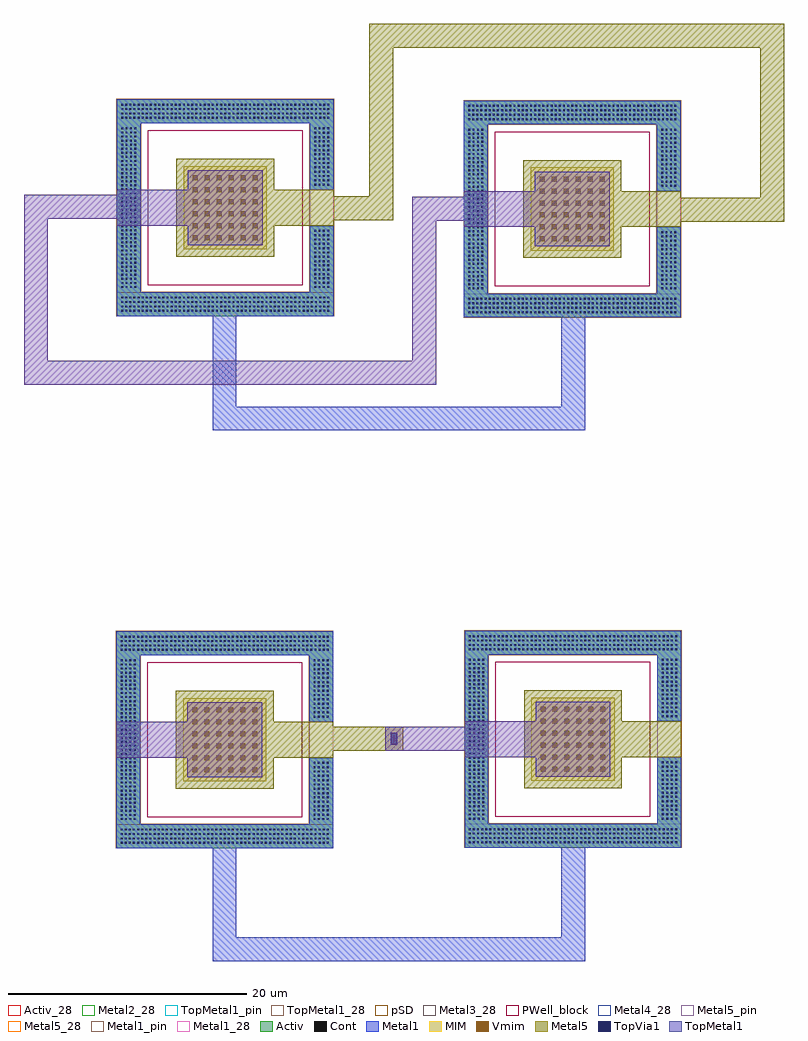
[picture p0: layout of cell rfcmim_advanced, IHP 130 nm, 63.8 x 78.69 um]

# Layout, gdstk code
import gdstk
lib = gdstk.Library(unit=1e-6, precision=1e-09)
def R(c, l, rs):  # rectangles x0, y0, x1, y1
    for r in rs: c.add(gdstk.rectangle(r[:2], r[2:], *l))
def A(c, l, x, y, w, h, nx, ny, dx, dy):  # array of equal rectangles
    R(c, l, [(x+i*dx, y+j*dy, x+i*dx+w, y+j*dy+h) for i in range(nx) for j in range(ny)])
def P(c, l, *ps):  # polygons
    for p in ps: c.add(gdstk.Polygon(p, *l))
Activ = (1, 0)
Activ_28 = (1, 28)
Cont = (6, 0)
Metal1 = (8, 0)
Metal1_pin = (8, 2)
Metal1_28 = (8, 28)
Metal2_28 = (10, 28)
pSD = (14, 0)
Metal3_28 = (30, 28)
MIM = (36, 0)
PWell_block = (46, 21)
Metal4_28 = (50, 28)
Metal5 = (67, 0)
Metal5_pin = (67, 2)
Metal5_28 = (67, 28)
TopVia1 = (125, 0)
TopMetal1 = (126, 0)
TopMetal1_pin = (126, 2)
TopMetal1_28 = (126, 28)
Vmim = (129, 0)

rfcmim = lib.new_cell('rfcmim')
P(rfcmim, Activ, [(-5.6,-5.6),(-5.6,12.6),(12.6,12.6),(12.6,5),(10.6,5),(10.6,10.6),(-3.6,10.6),(-3.6,-3.6),(10.6,-3.6),(10.6,2),(12.6,2),(12.6,-5.6)])
R(rfcmim, Activ_28, [(-5.6,-5.6,12.6,12.6)])
A(rfcmim, Cont, -5.24, -5.24, 0.16, 0.16, 4, 2, 0.345, 0.37)
A(rfcmim, Cont, -3.855, -5.24, 0.16, 0.16, 4, 2, 0.345, 0.37)
A(rfcmim, Cont, -2.47, -5.24, 0.16, 0.16, 3, 2, 0.345, 0.37)
A(rfcmim, Cont, -1.43, -5.24, 0.16, 0.16, 4, 2, 0.345, 0.37)
A(rfcmim, Cont, -0.045, -5.24, 0.16, 0.16, 3, 2, 0.345, 0.37)
A(rfcmim, Cont, 0.995, -5.24, 0.16, 0.16, 4, 2, 0.345, 0.37)
A(rfcmim, Cont, 2.38, -5.24, 0.16, 0.16, 3, 2, 0.345, 0.37)
A(rfcmim, Cont, 3.42, -5.24, 0.16, 0.16, 4, 2, 0.345, 0.37)
A(rfcmim, Cont, 4.805, -5.24, 0.16, 0.16, 4, 2, 0.345, 0.37)
A(rfcmim, Cont, 6.19, -5.24, 0.16, 0.16, 3, 2, 0.345, 0.37)
A(rfcmim, Cont, 7.23, -5.24, 0.16, 0.16, 4, 2, 0.345, 0.37)
A(rfcmim, Cont, 8.615, -5.24, 0.16, 0.16, 3, 2, 0.345, 0.37)
A(rfcmim, Cont, 9.655, -5.24, 0.16, 0.16, 4, 2, 0.345, 0.37)
A(rfcmim, Cont, 11.04, -5.24, 0.16, 0.16, 3, 2, 0.345, 0.37)
A(rfcmim, Cont, 12.08, -4.87, 0.16, 0.16, 1, 3, 0, 0.375)
A(rfcmim, Cont, -5.24, -4.495, 0.16, 0.16, 4, 2, 0.345, 0.375)
A(rfcmim, Cont, -3.855, -4.495, 0.16, 0.16, 4, 2, 0.345, 0.375)
A(rfcmim, Cont, -2.47, -4.495, 0.16, 0.16, 3, 2, 0.345, 0.375)
A(rfcmim, Cont, -1.43, -4.495, 0.16, 0.16, 4, 2, 0.345, 0.375)
A(rfcmim, Cont, -0.045, -4.495, 0.16, 0.16, 3, 2, 0.345, 0.375)
A(rfcmim, Cont, 0.995, -4.495, 0.16, 0.16, 4, 2, 0.345, 0.375)
A(rfcmim, Cont, 2.38, -4.495, 0.16, 0.16, 3, 2, 0.345, 0.375)
A(rfcmim, Cont, 3.42, -4.495, 0.16, 0.16, 4, 2, 0.345, 0.375)
A(rfcmim, Cont, 4.805, -4.495, 0.16, 0.16, 4, 2, 0.345, 0.375)
A(rfcmim, Cont, 6.19, -4.495, 0.16, 0.16, 3, 2, 0.345, 0.375)
A(rfcmim, Cont, 7.23, -4.495, 0.16, 0.16, 4, 2, 0.345, 0.375)
A(rfcmim, Cont, 8.615, -4.495, 0.16, 0.16, 3, 2, 0.345, 0.375)
A(rfcmim, Cont, 9.655, -4.495, 0.16, 0.16, 4, 2, 0.345, 0.375)
A(rfcmim, Cont, 11.04, -4.495, 0.16, 0.16, 3, 2, 0.345, 0.375)
A(rfcmim, Cont, -5.24, -3.24, 0.16, 0.16, 1, 4, 0, 0.34)
A(rfcmim, Cont, -4.87, -3.24, 0.16, 0.16, 3, 4, 0.375, 0.34)
A(rfcmim, Cont, 11.33, -3.24, 0.16, 0.16, 3, 2, 0.375, 0.36)
A(rfcmim, Cont, 11.33, -2.515, 0.16, 0.16, 3, 2, 0.375, 0.36)
A(rfcmim, Cont, 10.96, -2.155, 0.16, 0.16, 1, 3, 0, 0.365)
A(rfcmim, Cont, -5.24, -1.875, 0.16, 0.16, 1, 3, 0, 0.34)
A(rfcmim, Cont, -4.87, -1.875, 0.16, 0.16, 3, 3, 0.375, 0.34)
A(rfcmim, Cont, 11.33, -1.79, 0.16, 0.16, 3, 2, 0.375, 0.365)
A(rfcmim, Cont, 11.33, -1.065, 0.16, 0.16, 3, 2, 0.375, 0.365)
A(rfcmim, Cont, -5.24, -0.85, 0.16, 0.16, 1, 3, 0, 0.34)
A(rfcmim, Cont, -4.87, -0.85, 0.16, 0.16, 3, 3, 0.375, 0.34)
A(rfcmim, Cont, 10.96, -0.34, 0.16, 0.16, 1, 3, 0, 0.365)
A(rfcmim, Cont, 11.33, -0.34, 0.16, 0.16, 3, 3, 0.375, 0.365)
A(rfcmim, Cont, -5.24, 0.175, 0.16, 0.16, 1, 3, 0, 0.34)
A(rfcmim, Cont, -4.87, 0.175, 0.16, 0.16, 3, 3, 0.375, 0.34)
A(rfcmim, Cont, 10.96, 0.75, 0.16, 0.16, 1, 3, 0, 0.365)
A(rfcmim, Cont, 11.33, 0.75, 0.16, 0.16, 3, 3, 0.375, 0.365)
A(rfcmim, Cont, -5.24, 1.2, 0.16, 0.16, 1, 4, 0, 0.34)
A(rfcmim, Cont, -4.87, 1.2, 0.16, 0.16, 3, 4, 0.375, 0.34)
A(rfcmim, Cont, -5.24, 2.565, 0.16, 0.16, 1, 3, 0, 0.34)
A(rfcmim, Cont, -4.87, 2.565, 0.16, 0.16, 3, 3, 0.375, 0.34)
A(rfcmim, Cont, -5.24, 3.59, 0.16, 0.16, 1, 3, 0, 0.34)
A(rfcmim, Cont, -4.87, 3.59, 0.16, 0.16, 3, 3, 0.375, 0.34)
A(rfcmim, Cont, -5.24, 4.615, 0.16, 0.16, 1, 3, 0, 0.34)
A(rfcmim, Cont, -4.87, 4.615, 0.16, 0.16, 3, 3, 0.375, 0.34)
A(rfcmim, Cont, 11.33, 5.36, 0.16, 0.16, 3, 2, 0.375, 0.36)
A(rfcmim, Cont, -5.24, 5.64, 0.16, 0.16, 1, 4, 0, 0.34)
A(rfcmim, Cont, -4.87, 5.64, 0.16, 0.16, 3, 4, 0.375, 0.34)
A(rfcmim, Cont, 11.33, 6.085, 0.16, 0.16, 3, 2, 0.375, 0.36)
A(rfcmim, Cont, 10.96, 6.445, 0.16, 0.16, 1, 3, 0, 0.365)
A(rfcmim, Cont, 11.33, 6.81, 0.16, 0.16, 3, 2, 0.375, 0.365)
A(rfcmim, Cont, -5.24, 7.005, 0.16, 0.16, 1, 3, 0, 0.34)
A(rfcmim, Cont, -4.87, 7.005, 0.16, 0.16, 3, 3, 0.375, 0.34)
A(rfcmim, Cont, 11.33, 7.535, 0.16, 0.16, 3, 2, 0.375, 0.365)
A(rfcmim, Cont, -5.24, 8.03, 0.16, 0.16, 1, 3, 0, 0.34)
A(rfcmim, Cont, -4.87, 8.03, 0.16, 0.16, 3, 3, 0.375, 0.34)
A(rfcmim, Cont, 10.96, 8.26, 0.16, 0.16, 1, 3, 0, 0.365)
A(rfcmim, Cont, 11.33, 8.26, 0.16, 0.16, 3, 3, 0.375, 0.365)
A(rfcmim, Cont, -5.24, 9.055, 0.16, 0.16, 1, 3, 0, 0.34)
A(rfcmim, Cont, -4.87, 9.055, 0.16, 0.16, 3, 3, 0.375, 0.34)
A(rfcmim, Cont, 10.96, 9.35, 0.16, 0.16, 1, 3, 0, 0.365)
A(rfcmim, Cont, 11.33, 9.35, 0.16, 0.16, 3, 3, 0.375, 0.365)
A(rfcmim, Cont, -4.87, 10.08, 0.16, 0.16, 3, 1, 0.375, 0)
A(rfcmim, Cont, -5.24, 10.96, 0.16, 0.16, 4, 2, 0.345, 0.37)
A(rfcmim, Cont, -3.855, 10.96, 0.16, 0.16, 4, 2, 0.345, 0.37)
A(rfcmim, Cont, -2.47, 10.96, 0.16, 0.16, 3, 2, 0.345, 0.37)
A(rfcmim, Cont, -1.43, 10.96, 0.16, 0.16, 4, 2, 0.345, 0.37)
A(rfcmim, Cont, -0.045, 10.96, 0.16, 0.16, 3, 2, 0.345, 0.37)
A(rfcmim, Cont, 0.995, 10.96, 0.16, 0.16, 4, 2, 0.345, 0.37)
A(rfcmim, Cont, 2.38, 10.96, 0.16, 0.16, 3, 2, 0.345, 0.37)
A(rfcmim, Cont, 3.42, 10.96, 0.16, 0.16, 4, 2, 0.345, 0.37)
A(rfcmim, Cont, 4.805, 10.96, 0.16, 0.16, 4, 2, 0.345, 0.37)
A(rfcmim, Cont, 6.19, 10.96, 0.16, 0.16, 3, 2, 0.345, 0.37)
A(rfcmim, Cont, 7.23, 10.96, 0.16, 0.16, 4, 2, 0.345, 0.37)
A(rfcmim, Cont, 8.615, 10.96, 0.16, 0.16, 3, 2, 0.345, 0.37)
A(rfcmim, Cont, 9.655, 10.96, 0.16, 0.16, 4, 2, 0.345, 0.37)
A(rfcmim, Cont, 11.04, 10.96, 0.16, 0.16, 3, 2, 0.345, 0.37)
A(rfcmim, Cont, 12.08, 11.33, 0.16, 0.16, 1, 3, 0, 0.375)
A(rfcmim, Cont, -5.24, 11.705, 0.16, 0.16, 4, 2, 0.345, 0.375)
A(rfcmim, Cont, -3.855, 11.705, 0.16, 0.16, 4, 2, 0.345, 0.375)
A(rfcmim, Cont, -2.47, 11.705, 0.16, 0.16, 3, 2, 0.345, 0.375)
A(rfcmim, Cont, -1.43, 11.705, 0.16, 0.16, 4, 2, 0.345, 0.375)
A(rfcmim, Cont, -0.045, 11.705, 0.16, 0.16, 3, 2, 0.345, 0.375)
A(rfcmim, Cont, 0.995, 11.705, 0.16, 0.16, 4, 2, 0.345, 0.375)
A(rfcmim, Cont, 2.38, 11.705, 0.16, 0.16, 3, 2, 0.345, 0.375)
A(rfcmim, Cont, 3.42, 11.705, 0.16, 0.16, 4, 2, 0.345, 0.375)
A(rfcmim, Cont, 4.805, 11.705, 0.16, 0.16, 4, 2, 0.345, 0.375)
A(rfcmim, Cont, 6.19, 11.705, 0.16, 0.16, 3, 2, 0.345, 0.375)
A(rfcmim, Cont, 7.23, 11.705, 0.16, 0.16, 4, 2, 0.345, 0.375)
A(rfcmim, Cont, 8.615, 11.705, 0.16, 0.16, 3, 2, 0.345, 0.375)
A(rfcmim, Cont, 9.655, 11.705, 0.16, 0.16, 4, 2, 0.345, 0.375)
A(rfcmim, Cont, 11.04, 11.705, 0.16, 0.16, 3, 2, 0.345, 0.375)
R(rfcmim, Cont, [(12.08,-5.24,12.24,-5.08), (10.96,-3.24,11.12,-3.08), (10.96,-2.88,11.12,-2.72), (10.96,-2.515,11.12,-2.355), (10.96,-1.065,11.12,-0.905), (10.96,-0.7,11.12,-0.54), (10.96,5.36,11.12,5.52), (10.96,5.72,11.12,5.88), (10.96,6.085,11.12,6.245), (10.96,7.535,11.12,7.695), (10.96,7.9,11.12,8.06), (-5.24,10.08,-5.08,10.24), (12.08,10.96,12.24,11.12)])
P(rfcmim, Metal1, [(-5.6,-5.6),(-5.6,12.6),(12.6,12.6),(12.6,5),(10.6,5),(10.6,10.6),(-3.6,10.6),(-3.6,-3.6),(10.6,-3.6),(10.6,2),(12.6,2),(12.6,-5.6)])
R(rfcmim, Metal1_pin, [(-5.6,-5.6,12.6,-3.6), (-5.6,-5.6,12.6,-3.6)])
R(rfcmim, Metal1_28, [(-5.6,-5.6,12.6,12.6)])
R(rfcmim, Metal2_28, [(-5.6,-5.6,12.6,12.6)])
P(rfcmim, pSD, [(-5.63,-5.63),(-5.63,10.57),(-3.57,10.57),(-3.57,-3.57),(10.57,-3.57),(10.57,10.57),(-5.63,10.57),(-5.63,12.63),(12.63,12.63),(12.63,-5.63)])
R(rfcmim, Metal3_28, [(-5.6,-5.6,12.6,12.6)])
R(rfcmim, MIM, [(0,0,7,7)])
R(rfcmim, PWell_block, [(-3,-3,10,10)])
R(rfcmim, Metal4_28, [(-5.6,-5.6,12.6,12.6)])
R(rfcmim, Metal5, [(-0.6,-0.6,7.6,7.6), (-0.6,-0.6,7.6,7.6), (7.6,2,12.6,5)])
R(rfcmim, Metal5_pin, [(10.6,2,12.6,5), (10.6,2,12.6,5)])
R(rfcmim, Metal5_28, [(-5.6,-5.6,12.6,12.6)])
R(rfcmim, TopMetal1, [(0.36,0.36,6.64,6.64), (-5.6,2,0.36,5)])
R(rfcmim, TopMetal1_pin, [(-5.6,2,-3.6,5), (-5.6,2,-3.6,5)])
R(rfcmim, TopMetal1_28, [(-5.6,-5.6,12.6,12.6)])
A(rfcmim, Vmim, 1.78, 0.78, 0.42, 0.42, 5, 2, 1.005, 1)
A(rfcmim, Vmim, 0.78, 1.78, 0.42, 0.42, 1, 5, 0, 1.005)
A(rfcmim, Vmim, 1.78, 2.785, 0.42, 0.42, 5, 4, 1.005, 1.005)
R(rfcmim, Vmim, [(0.78,0.78,1.2,1.2)])
rfcmim.add(gdstk.Label('PLUS', (-4.6,3.5), layer=63, texttype=0))
rfcmim.add(gdstk.Label('MINUS', (11.6,3.5), layer=63, texttype=0))
rfcmim.add(gdstk.Label('TIE', (3.5,-4.6), layer=63, texttype=0))
rfcmim.add(gdstk.Label('rfcmim', (3.5,9), layer=63, texttype=0))
rfcmim.add(gdstk.Label('C=74.8f', (3.5,-2), layer=63, texttype=0))

rfcmim_advanced = lib.new_cell('rfcmim_advanced')
R(rfcmim_advanced, Metal5, [(11.01,2.5,17.995,4.505)])
R(rfcmim_advanced, TopVia1, [(16.98,3.005,17.49,4.015)])
R(rfcmim_advanced, TopMetal1, [(16.505,2.5,23.805,4.5)])
rfcmim_advanced.add(gdstk.FlexPath([(11.665,48.045),(16.155,48.045),(16.155,62.525),(48.975,62.525),(48.975,47.91),(40.935,47.91)], 2, ends="flush", simple_path=True, layer=67, datatype=0))  # Metal5
rfcmim_advanced.add(gdstk.FlexPath([(-5.59,48.18),(-12.825,48.18),(-12.825,34.24),(19.775,34.24),(19.775,48),(23.62,48)], 2, ends="flush", simple_path=True, layer=126, datatype=0))  # TopMetal1
rfcmim_advanced.add(gdstk.FlexPath([(3.01,39.88),(3.01,30.4),(32.27,30.4),(32.27,39.775)], 2, ends="flush", simple_path=True, layer=8, datatype=0))  # Metal1
rfcmim_advanced.add(gdstk.FlexPath([(3.01,-4.68),(3.01,-14.16),(32.27,-14.16),(32.27,-4.785)], 2, ends="flush", simple_path=True, layer=8, datatype=0))  # Metal1
rfcmim_advanced.add(gdstk.Reference(rfcmim, (-0.43,44.59)))
rfcmim_advanced.add(gdstk.Reference(rfcmim, (28.7,44.485)))
rfcmim_advanced.add(gdstk.Reference(rfcmim, (28.755,-0.03)))
rfcmim_advanced.add(gdstk.Reference(rfcmim, (-0.475,-0.07)))

lib.write_gds('rfcmim_advanced.gds')
